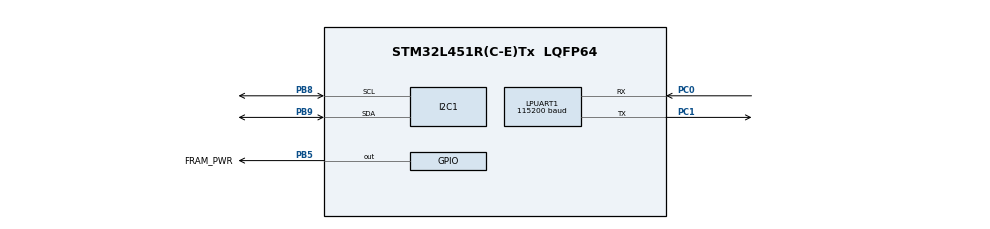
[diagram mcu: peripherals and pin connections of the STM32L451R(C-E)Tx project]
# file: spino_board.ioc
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I2C1.Timing=0x00100D14
LPUART1.BaudRate=115200
LPUART1.WordLength=UART_WORDLENGTH_8B
Mcu.Family=STM32L4
Mcu.Name=STM32L451R(C-E)Tx
Mcu.Package=LQFP64
NVIC.I2C1_ER_IRQn=true\:0\:0\:false\:false\:true\:true\:true\:true
NVIC.I2C1_EV_IRQn=true\:0\:0\:false\:false\:true\:true\:true\:true
NVIC.LPUART1_IRQn=true\:0\:0\:false\:false\:true\:true\:true\:true
NVIC.PriorityGroup=NVIC_PRIORITYGROUP_4
PA13\ (JTMS/SWDIO).Mode=Trace_Asynchronous_SW
PA13\ (JTMS/SWDIO).Signal=SYS_JTMS-SWDIO
PA14\ (JTCK/SWCLK).Mode=Trace_Asynchronous_SW
PA14\ (JTCK/SWCLK).Signal=SYS_JTCK-SWCLK
PB3\ (JTDO/TRACESWO).Mode=Trace_Asynchronous_SW
PB3\ (JTDO/TRACESWO).Signal=SYS_JTDO-SWO
PB5.GPIO_Label=FRAM_PWR
PB5.Signal=GPIO_Output
PB8.Mode=I2C
PB8.Signal=I2C1_SCL
PB9.Mode=I2C
PB9.Signal=I2C1_SDA
PC0.Mode=Asynchronous
PC0.Signal=LPUART1_RX
PC1.Mode=Asynchronous
PC1.Signal=LPUART1_TX
PC14-OSC32_IN\ (PC14).Mode=LSE-External-Oscillator
PC14-OSC32_IN\ (PC14).Signal=RCC_OSC32_IN
PC15-OSC32_OUT\ (PC15).Mode=LSE-External-Oscillator
PC15-OSC32_OUT\ (PC15).Signal=RCC_OSC32_OUT
PH0-OSC_IN\ (PH0).Mode=HSE-External-Oscillator
PH0-OSC_IN\ (PH0).Signal=RCC_OSC_IN
PH1-OSC_OUT\ (PH1).Mode=HSE-External-Oscillator
PH1-OSC_OUT\ (PH1).Signal=RCC_OSC_OUT
ProjectManager.HeapSize=0x200
ProjectManager.StackSize=0x400
ProjectManager.TargetToolchain=STM32CubeIDE
RCC.HSE_VALUE=8000000
RCC.HSI48_VALUE=48000000
RCC.HSI_VALUE=16000000
RCC.MSI_VALUE=4000000
RCC.VCOOutputFreq_Value=32000000
board=custom

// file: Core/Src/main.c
/* USER CODE BEGIN Header */
/**
  ******************************************************************************
  * @file           : main.c
  * @brief          : Main program body
  ******************************************************************************
  * @attention
  *
  * Copyright (c) 2025 STMicroelectronics.
  * All rights reserved.
  *
  * This software is licensed under terms that can be found in the LICENSE file
  * in the root directory of this software component.
  * If no LICENSE file comes with this software, it is provided AS-IS.
  *
  ******************************************************************************
  */
/* USER CODE END Header */
#include "main.h"

/* USER CODE BEGIN Includes */
#include "stdio.h"
#include "string.h"
#include "VEML7700.h"
#include "BMP280.h"
#include "LCD_I2C.h"
#include "affichage_UART.h"
/* USER CODE END Includes */

I2C_HandleTypeDef hi2c1;

UART_HandleTypeDef hlpuart1;

void SystemClock_Config(void);
static void MX_GPIO_Init(void);
static void MX_I2C1_Init(void);
static void MX_LPUART1_UART_Init(void);
/* USER CODE BEGIN PFP */

//bessel start
void I2C_Scan(I2C_HandleTypeDef *hi2c, UART_HandleTypeDef *huart);
//bessel end

/* USER CODE END PFP */

/* USER CODE BEGIN 0 */

//bessel start
void I2C_Scan(I2C_HandleTypeDef *hi2c, UART_HandleTypeDef *huart) {
    char msg[32];
    uint8_t found = 0;

    HAL_UART_Transmit(huart, (uint8_t*)"Scanning I2C...\r\n", 17, HAL_MAX_DELAY);

    for (uint8_t i = 1; i < 128; i++) {
        if (HAL_I2C_IsDeviceReady(hi2c, (i << 1), 1, HAL_MAX_DELAY) == HAL_OK) {
            snprintf(msg, sizeof(msg), "Device found at 0x%X\r\n", i);
            HAL_UART_Transmit(huart, (uint8_t*)msg, strlen(msg), HAL_MAX_DELAY);
            found = 1;
        }
    }

    if (!found) {
        HAL_UART_Transmit(huart, (uint8_t*)"No I2C device found!\r\n", 22, HAL_MAX_DELAY);
    }

    HAL_UART_Transmit(huart, (uint8_t*)"Scan Complete\r\n", 15, HAL_MAX_DELAY);
}
//bessel end

/* USER CODE END 0 */

int main(void)
{

  /* MCU Configuration--------------------------------------------------------*/

  /* Reset of all peripherals, Initializes the Flash interface and the Systick. */
  HAL_Init();

  /* Configure the system clock */
  SystemClock_Config();

  /* Initialize all configured peripherals */
  MX_GPIO_Init();
  MX_I2C1_Init();
  MX_LPUART1_UART_Init();
  /* USER CODE BEGIN 2 */

// bessel start

  I2C_Scan(&hi2c1,&hlpuart1);
  // Initialisation des capteurs et de l'écran
  VEML7700_Init(&hi2c1);
  BMP280_Init(&hi2c1);

  LCD_Init(&hi2c1);
  LCD_SetRGB(&hi2c1, 255, 255, 255); // Allume le rétroéclairage
  LCD_SetText(&hi2c1, "DFRobot 1602 RGB", 0);
  LCD_SetText(&hi2c1, "LCD STM32 Test", 1);
// bessel end

  /* USER CODE END 2 */

  /* Infinite loop */
  while (1)
  {

    /* USER CODE BEGIN 3 */

	  while (1) {
		  float lux = VEML7700_GetLux(&hi2c1);

		  	  float temperature = BMP280_ReadTemperature();
		  	  float pressure = BMP280_ReadPressure();
		  	  float altitude = BMP280_ReadAltitude(1013.25); // à ajuster selon ta pression locale

		  	  char buffer[100];
		  	  snprintf(buffer, sizeof(buffer),
		  	           "Lux: %.2f lx\r\nT: %.2f C\r\nP: %.2f hPa\r\nAlt: %.2f m\r\n",
		  	           lux, temperature, pressure / 100.0, altitude);

		  	  HAL_UART_Transmit(&hlpuart1, (uint8_t*)buffer, strlen(buffer), HAL_MAX_DELAY);

		  	  // Affichage sur LCD 16x2
		  	// Création des lignes à afficher sur le LCD
		  	    char lcdLine1[17];  // 16 caractères max + '\0'
		  	    char lcdLine2[17];
		  	    snprintf(lcdLine1, sizeof(lcdLine1), "T:%.1fC P:%.0fhPa", temperature, pressure / 100.0);
		  	    snprintf(lcdLine2, sizeof(lcdLine2), "L:%.0flux A:%.0fm", lux, altitude);

		  	    // Affichage LCD
		  	    LCD_SetText(&hi2c1, lcdLine1, 0);  // ligne 1
		  	    LCD_SetText(&hi2c1, lcdLine2, 1);  // ligne 2

		  	  HAL_Delay(10000);

	  }
  }
  /* USER CODE END 3 */
}

void SystemClock_Config(void)
{
  RCC_OscInitTypeDef RCC_OscInitStruct = {0};
  RCC_ClkInitTypeDef RCC_ClkInitStruct = {0};

  /** Configure the main internal regulator output voltage
  */
  if (HAL_PWREx_ControlVoltageScaling(PWR_REGULATOR_VOLTAGE_SCALE1) != HAL_OK)
  {
    Error_Handler();
  }

  /** Configure LSE Drive Capability
  */
  HAL_PWR_EnableBkUpAccess();
  __HAL_RCC_LSEDRIVE_CONFIG(RCC_LSEDRIVE_LOW);

  /** Initializes the RCC Oscillators according to the specified parameters
  * in the RCC_OscInitTypeDef structure.
  */
  RCC_OscInitStruct.OscillatorType = RCC_OSCILLATORTYPE_LSE|RCC_OSCILLATORTYPE_MSI;
  RCC_OscInitStruct.LSEState = RCC_LSE_ON;
  RCC_OscInitStruct.MSIState = RCC_MSI_ON;
  RCC_OscInitStruct.MSICalibrationValue = 0;
  RCC_OscInitStruct.MSIClockRange = RCC_MSIRANGE_6;
  RCC_OscInitStruct.PLL.PLLState = RCC_PLL_NONE;
  if (HAL_RCC_OscConfig(&RCC_OscInitStruct) != HAL_OK)
  {
    Error_Handler();
  }

  /** Initializes the CPU, AHB and APB buses clocks
  */
  RCC_ClkInitStruct.ClockType = RCC_CLOCKTYPE_HCLK|RCC_CLOCKTYPE_SYSCLK
                              |RCC_CLOCKTYPE_PCLK1|RCC_CLOCKTYPE_PCLK2;
  RCC_ClkInitStruct.SYSCLKSource = RCC_SYSCLKSOURCE_MSI;
  RCC_ClkInitStruct.AHBCLKDivider = RCC_SYSCLK_DIV1;
  RCC_ClkInitStruct.APB1CLKDivider = RCC_HCLK_DIV1;
  RCC_ClkInitStruct.APB2CLKDivider = RCC_HCLK_DIV1;

  if (HAL_RCC_ClockConfig(&RCC_ClkInitStruct, FLASH_LATENCY_0) != HAL_OK)
  {
    Error_Handler();
  }

  /** Enable MSI Auto calibration
  */
  HAL_RCCEx_EnableMSIPLLMode();
}

static void MX_I2C1_Init(void)
{

  hi2c1.Instance = I2C1;
  hi2c1.Init.Timing = 0x00100D14;
  hi2c1.Init.OwnAddress1 = 0;
  hi2c1.Init.AddressingMode = I2C_ADDRESSINGMODE_7BIT;
  hi2c1.Init.DualAddressMode = I2C_DUALADDRESS_DISABLE;
  hi2c1.Init.OwnAddress2 = 0;
  hi2c1.Init.OwnAddress2Masks = I2C_OA2_NOMASK;
  hi2c1.Init.GeneralCallMode = I2C_GENERALCALL_DISABLE;
  hi2c1.Init.NoStretchMode = I2C_NOSTRETCH_DISABLE;
  if (HAL_I2C_Init(&hi2c1) != HAL_OK)
  {
    Error_Handler();
  }

  /** Configure Analogue filter
  */
  if (HAL_I2CEx_ConfigAnalogFilter(&hi2c1, I2C_ANALOGFILTER_ENABLE) != HAL_OK)
  {
    Error_Handler();
  }

  /** Configure Digital filter
  */
  if (HAL_I2CEx_ConfigDigitalFilter(&hi2c1, 0) != HAL_OK)
  {
    Error_Handler();
  }

}

static void MX_LPUART1_UART_Init(void)
{

  hlpuart1.Instance = LPUART1;
  hlpuart1.Init.BaudRate = 115200;
  hlpuart1.Init.WordLength = UART_WORDLENGTH_8B;
  hlpuart1.Init.StopBits = UART_STOPBITS_1;
  hlpuart1.Init.Parity = UART_PARITY_NONE;
  hlpuart1.Init.Mode = UART_MODE_TX_RX;
  hlpuart1.Init.HwFlowCtl = UART_HWCONTROL_NONE;
  hlpuart1.Init.OneBitSampling = UART_ONE_BIT_SAMPLE_DISABLE;
  hlpuart1.AdvancedInit.AdvFeatureInit = UART_ADVFEATURE_NO_INIT;
  if (HAL_UART_Init(&hlpuart1) != HAL_OK)
  {
    Error_Handler();
  }

}

static void MX_GPIO_Init(void)
{
  GPIO_InitTypeDef GPIO_InitStruct = {0};

  /* GPIO Ports Clock Enable */
  __HAL_RCC_GPIOC_CLK_ENABLE();
  __HAL_RCC_GPIOH_CLK_ENABLE();
  __HAL_RCC_GPIOA_CLK_ENABLE();
  __HAL_RCC_GPIOB_CLK_ENABLE();

  /*Configure GPIO pin Output Level */
  HAL_GPIO_WritePin(FRAM_PWR_GPIO_Port, FRAM_PWR_Pin, GPIO_PIN_RESET);

  /*Configure GPIO pin : FRAM_PWR_Pin */
  GPIO_InitStruct.Pin = FRAM_PWR_Pin;
  GPIO_InitStruct.Mode = GPIO_MODE_OUTPUT_PP;
  GPIO_InitStruct.Pull = GPIO_NOPULL;
  GPIO_InitStruct.Speed = GPIO_SPEED_FREQ_LOW;
  HAL_GPIO_Init(FRAM_PWR_GPIO_Port, &GPIO_InitStruct);

}

void Error_Handler(void)
{
  __disable_irq();
  while (1)
  {
  }
}
